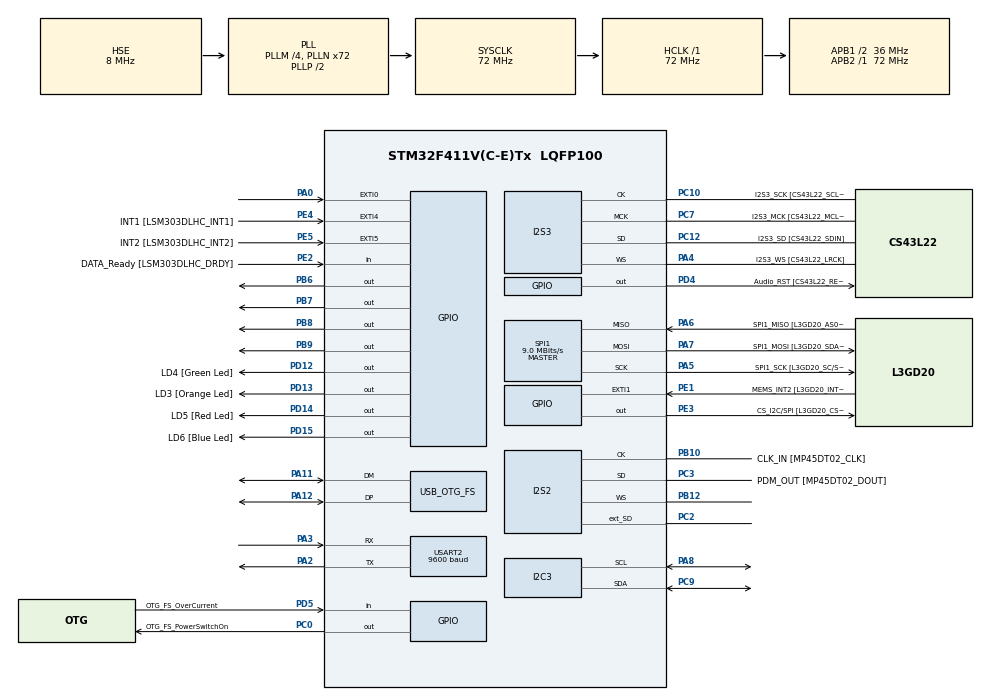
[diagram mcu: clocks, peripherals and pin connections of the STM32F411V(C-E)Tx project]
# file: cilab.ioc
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Dma.Request0=USART2_RX
Dma.Request1=SPI1_TX
Dma.SPI1_TX.1.Direction=DMA_MEMORY_TO_PERIPH
Dma.SPI1_TX.1.FIFOMode=DMA_FIFOMODE_DISABLE
Dma.SPI1_TX.1.Instance=DMA2_Stream2
Dma.SPI1_TX.1.MemDataAlignment=DMA_MDATAALIGN_BYTE
Dma.SPI1_TX.1.MemInc=DMA_MINC_ENABLE
Dma.SPI1_TX.1.Mode=DMA_NORMAL
Dma.SPI1_TX.1.PeriphDataAlignment=DMA_PDATAALIGN_BYTE
Dma.SPI1_TX.1.PeriphInc=DMA_PINC_DISABLE
Dma.SPI1_TX.1.Priority=DMA_PRIORITY_LOW
Dma.USART2_RX.0.Direction=DMA_PERIPH_TO_MEMORY
Dma.USART2_RX.0.FIFOMode=DMA_FIFOMODE_DISABLE
Dma.USART2_RX.0.Instance=DMA1_Stream5
Dma.USART2_RX.0.MemDataAlignment=DMA_MDATAALIGN_BYTE
Dma.USART2_RX.0.MemInc=DMA_MINC_ENABLE
Dma.USART2_RX.0.Mode=DMA_CIRCULAR
Dma.USART2_RX.0.PeriphDataAlignment=DMA_PDATAALIGN_BYTE
Dma.USART2_RX.0.PeriphInc=DMA_PINC_DISABLE
Dma.USART2_RX.0.Priority=DMA_PRIORITY_LOW
I2S2.AudioFreq=I2S_AUDIOFREQ_96K
I2S2.ErrorAudioFreq=0.15 %
I2S2.FullDuplexMode=I2S_FULLDUPLEXMODE_ENABLE
I2S2.Instance=SPI$Index
I2S2.RealAudioFreq=96.153 KHz
I2S2.VirtualMode=I2S_MODE_MASTER
I2S3.AudioFreq=I2S_AUDIOFREQ_96K
I2S3.ErrorAudioFreq=-6.99 %
I2S3.FullDuplexMode=I2S_FULLDUPLEXMODE_DISABLE
I2S3.Instance=SPI$Index
I2S3.RealAudioFreq=89.285 KHz
I2S3.VirtualMode=I2S_MODE_MASTER
Mcu.Family=STM32F4
Mcu.Name=STM32F411V(C-E)Tx
Mcu.Package=LQFP100
NVIC.DMA1_Stream5_IRQn=true\:0\:0\:true\:false\:true\:false\:true\:true
NVIC.DMA2_Stream2_IRQn=true\:0\:0\:false\:false\:true\:false\:true\:true
NVIC.OTG_FS_IRQn=true\:0\:0\:false\:false\:true\:true\:true\:true
NVIC.PriorityGroup=NVIC_PRIORITYGROUP_0
NVIC.USART2_IRQn=true\:0\:0\:false\:false\:true\:true\:true\:true
PA0-WKUP.GPIO_ModeDefaultEXTI=GPIO_MODE_EVT_RISING
PA0-WKUP.Signal=GPXTI0
PA10.GPIO_Label=OTG_FS_ID
PA10.Signal=USB_OTG_FS_ID
PA11.GPIO_Mode=GPIO_MODE_AF_PP
PA11.GPIO_PuPd=GPIO_NOPULL
PA11.GPIO_Speed=GPIO_SPEED_FREQ_VERY_HIGH
PA11.Mode=Device_Only
PA11.Signal=USB_OTG_FS_DM
PA12.GPIO_Mode=GPIO_MODE_AF_PP
PA12.GPIO_PuPd=GPIO_NOPULL
PA12.GPIO_Speed=GPIO_SPEED_FREQ_VERY_HIGH
PA12.Mode=Device_Only
PA12.Signal=USB_OTG_FS_DP
PA13.GPIO_Label=SWDIO
PA13.Mode=Serial_Wire
PA13.Signal=SYS_JTMS-SWDIO
PA14.GPIO_Label=SWCLK
PA14.Mode=Serial_Wire
PA14.Signal=SYS_JTCK-SWCLK
PA2.Mode=Asynchronous
PA2.Signal=USART2_TX
PA3.Mode=Asynchronous
PA3.Signal=USART2_RX
PA4.GPIO_Label=I2S3_WS [CS43L22_LRCK]
PA4.GPIO_Mode=GPIO_MODE_AF_PP
PA4.GPIO_PuPd=GPIO_NOPULL
PA4.GPIO_Speed=GPIO_SPEED_FREQ_LOW
PA4.Mode=Half_Duplex_Master
PA4.Signal=I2S3_WS
PA5.GPIO_Label=SPI1_SCK [L3GD20_SC/SPC]
PA5.Mode=Full_Duplex_Master
PA5.Signal=SPI1_SCK
PA6.GPIO_Label=SPI1_MISO [L3GD20_AS0/SDO]
PA6.Mode=Full_Duplex_Master
PA6.Signal=SPI1_MISO
PA7.GPIO_Label=SPI1_MOSI [L3GD20_SDA/SDI/SDO]
PA7.Mode=Full_Duplex_Master
PA7.Signal=SPI1_MOSI
PA8.Mode=I2C
PA8.Signal=I2C3_SCL
PA9.GPIO_Label=VBUS_FS
PA9.Signal=USB_OTG_FS_VBUS
PB10.GPIO_Label=CLK_IN [MP45DT02_CLK]
PB10.Mode=Full_Duplex_Master
PB10.Signal=I2S2_CK
PB12.Mode=Full_Duplex_Master
PB12.Signal=I2S2_WS
PB3.GPIO_Label=SWO
PB3.Signal=SYS_JTDO-SWO
PB6.Signal=GPIO_Output
PB7.Signal=GPIO_Output
PB8.Signal=GPIO_Output
PB9.Signal=GPIO_Output
PC0.GPIO_Label=OTG_FS_PowerSwitchOn
PC0.PinState=GPIO_PIN_SET
PC0.Signal=GPIO_Output
PC10.GPIO_Label=I2S3_SCK [CS43L22_SCLK]
PC10.GPIO_Mode=GPIO_MODE_AF_PP
PC10.GPIO_PuPd=GPIO_NOPULL
PC10.GPIO_Speed=GPIO_SPEED_FREQ_LOW
PC10.Mode=Half_Duplex_Master
PC10.Signal=I2S3_CK
PC12.GPIO_Label=I2S3_SD [CS43L22_SDIN]
PC12.GPIO_Mode=GPIO_MODE_AF_PP
PC12.GPIO_PuPd=GPIO_NOPULL
PC12.GPIO_Speed=GPIO_SPEED_FREQ_LOW
PC12.Mode=Half_Duplex_Master
PC12.Signal=I2S3_SD
PC14-OSC32_IN.GPIO_Label=PC14-OSC32_IN
PC14-OSC32_IN.Mode=LSE-External-Oscillator
PC14-OSC32_IN.Signal=RCC_OSC32_IN
PC15-OSC32_OUT.GPIO_Label=PC15-OSC32_OUT
PC15-OSC32_OUT.Mode=LSE-External-Oscillator
PC15-OSC32_OUT.Signal=RCC_OSC32_OUT
PC2.Mode=Full_Duplex_Master
PC2.Signal=I2S2_ext_SD
PC3.GPIO_Label=PDM_OUT [MP45DT02_DOUT]
PC3.Mode=Full_Duplex_Master
PC3.Signal=I2S2_SD
PC7.GPIO_Label=I2S3_MCK [CS43L22_MCLK]
PC7.GPIO_Mode=GPIO_MODE_AF_PP
PC7.GPIO_PuPd=GPIO_NOPULL
PC7.GPIO_Speed=GPIO_SPEED_FREQ_LOW
PC7.Mode=Master_Clock_Activated
PC7.Signal=I2S3_MCK
PC9.Mode=I2C
PC9.Signal=I2C3_SDA
PD12.GPIO_Label=LD4 [Green Led]
PD12.GPIO_PuPd=GPIO_NOPULL
PD12.GPIO_Speed=GPIO_SPEED_FREQ_LOW
PD12.Signal=GPIO_Output
PD13.GPIO_Label=LD3 [Orange Led]
PD13.GPIO_PuPd=GPIO_NOPULL
PD13.GPIO_Speed=GPIO_SPEED_FREQ_LOW
PD13.Signal=GPIO_Output
PD14.GPIO_Label=LD5 [Red Led]
PD14.GPIO_PuPd=GPIO_NOPULL
PD14.GPIO_Speed=GPIO_SPEED_FREQ_LOW
PD14.Signal=GPIO_Output
PD15.GPIO_Label=LD6 [Blue Led]
PD15.GPIO_PuPd=GPIO_NOPULL
PD15.GPIO_Speed=GPIO_SPEED_FREQ_LOW
PD15.Signal=GPIO_Output
PD4.GPIO_Label=Audio_RST [CS43L22_RESET]
PD4.Signal=GPIO_Output
PD5.GPIO_Label=OTG_FS_OverCurrent
PD5.Signal=GPIO_Input
PE1.GPIO_Label=MEMS_INT2 [L3GD20_INT2]
PE1.GPIO_ModeDefaultEXTI=GPIO_MODE_EVT_RISING
PE1.Signal=GPXTI1
PE2.GPIO_Label=DATA_Ready [LSM303DLHC_DRDY]
PE2.Signal=GPIO_Input
PE3.GPIO_Label=CS_I2C/SPI [L3GD20_CS_I2C/SPI]
PE3.Signal=GPIO_Output
PE4.GPIO_Label=INT1 [LSM303DLHC_INT1]
PE4.GPIO_ModeDefaultEXTI=GPIO_MODE_EVT_RISING
PE4.Signal=GPXTI4
PE5.GPIO_Label=INT2 [LSM303DLHC_INT2]
PE5.GPIO_ModeDefaultEXTI=GPIO_MODE_EVT_RISING
PE5.Signal=GPXTI5
PH0\ -\ OSC_IN.GPIO_Label=PH0-OSC_IN
PH0\ -\ OSC_IN.Mode=HSE-External-Oscillator
PH0\ -\ OSC_IN.Signal=RCC_OSC_IN
PH1\ -\ OSC_OUT.GPIO_Label=PH1-OSC_OUT
PH1\ -\ OSC_OUT.Mode=HSE-External-Oscillator
PH1\ -\ OSC_OUT.Signal=RCC_OSC_OUT
ProjectManager.HeapSize=0x200
ProjectManager.StackSize=0x400
ProjectManager.TargetToolchain=STM32CubeIDE
RCC.48MHZClocksFreq_Value=48000000
RCC.AHBFreq_Value=72000000
RCC.APB1CLKDivider=RCC_HCLK_DIV2
RCC.APB1Freq_Value=36000000
RCC.APB1TimFreq_Value=72000000
RCC.APB2Freq_Value=72000000
RCC.APB2TimFreq_Value=72000000
RCC.CortexFreq_Value=72000000
RCC.HCLKFreq_Value=72000000
RCC.HSE_VALUE=8000000
RCC.HSI_VALUE=16000000
RCC.PLLI2SM=5
RCC.PLLI2SN=200
RCC.PLLM=4
RCC.PLLN=72
RCC.PLLQ=3
RCC.SYSCLKFreq_VALUE=72000000
RCC.SYSCLKSource=RCC_SYSCLKSOURCE_PLLCLK
RCC.VCOOutputFreq_Value=144000000
SPI1.BaudRatePrescaler=SPI_BAUDRATEPRESCALER_8
SPI1.CalculateBaudRate=9.0 MBits/s
SPI1.Direction=SPI_DIRECTION_2LINES
SPI1.Mode=SPI_MODE_MASTER
SPI1.VirtualType=VM_MASTER
USART2.BaudRate=9600
USART2.VirtualMode=VM_ASYNC
USB_DEVICE.CLASS_NAME_FS=CDC
USB_DEVICE.VirtualMode=Cdc
USB_DEVICE.VirtualModeFS=Cdc_FS
USB_OTG_FS.VirtualMode=Device_Only
VP_USB_DEVICE_VS_USB_DEVICE_CDC_FS.Mode=CDC_FS
board=STM32F411E-DISCO

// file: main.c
/* USER CODE BEGIN Header */
/**
  ******************************************************************************
  * @file           : main.c
  * @brief          : Main program body
  ******************************************************************************
  * @attention
  *
  * Copyright (c) 2025 STMicroelectronics.
  * All rights reserved.
  *
  * This software is licensed under terms that can be found in the LICENSE file
  * in the root directory of this software component.
  * If no LICENSE file comes with this software, it is provided AS-IS.
  *
  ******************************************************************************
  */
/* USER CODE END Header */
#include "main.h"
#include "usb_device.h"

/* USER CODE BEGIN Includes */
#include "gps.h"
#include "nmea.h"
#include "display_ili9341.h"
#include "cli.h"
#include "fonts.h"
#include "bme.h"
#include "string.h"
#include "stdio.h"
#include "stdbool.h"

/* USER CODE END Includes */

/* USER CODE BEGIN PD */
#define GPS_DMA_BUF_SZ 512
uint8_t gps_dma_buf[GPS_DMA_BUF_SZ];
/* USER CODE END PD */

I2C_HandleTypeDef hi2c3;

I2S_HandleTypeDef hi2s2;
I2S_HandleTypeDef hi2s3;

SPI_HandleTypeDef hspi1;
DMA_HandleTypeDef hdma_spi1_tx;

UART_HandleTypeDef huart2;
DMA_HandleTypeDef hdma_usart2_rx;

void SystemClock_Config(void);
void PeriphCommonClock_Config(void);
static void MX_GPIO_Init(void);
static void MX_DMA_Init(void);
static void MX_I2S2_Init(void);
static void MX_I2S3_Init(void);
static void MX_SPI1_Init(void);
static void MX_USART2_UART_Init(void);
static void MX_I2C3_Init(void);

/* USER CODE BEGIN 0 */
//volatile uint32_t msTicks = 0;
//void SysTick_Handler(void) {
//    HAL_IncTick();
//    msTicks++;
//}
////
//uint32_t millis(void) { return msTicks; }

/* USER CODE END 0 */

int main(void)
{

  /* USER CODE BEGIN 1 */
  uint8_t gps_dma_buf[GPS_DMA_BUF_SZ];

  /* USER CODE END 1 */

  /* MCU Configuration--------------------------------------------------------*/

  /* Reset of all peripherals, Initializes the Flash interface and the Systick. */
  HAL_Init();

  /* Configure the system clock */
  SystemClock_Config();

  /* Configure the peripherals common clocks */
  PeriphCommonClock_Config();

  /* Initialize all configured peripherals */
  MX_GPIO_Init();
  MX_DMA_Init();
  MX_I2S2_Init();
  MX_I2S3_Init();
  MX_SPI1_Init();
  MX_USART2_UART_Init();
  MX_USB_DEVICE_Init();
  MX_I2C3_Init();
  /* USER CODE BEGIN 2 */
  if (HAL_UART_Receive_DMA(&huart2, gps_dma_buf, GPS_DMA_BUF_SZ) != HAL_OK) {
          Error_Handler();
      }
      __HAL_UART_ENABLE_IT(&huart2, UART_IT_IDLE);

      nmea_init();
      gps_init();
      cli_init();
      ili9341_init(&hspi1);
      bme280_init(&hi2c3);

      ili9341_fill_screen(BLACK);
      ili9341_draw_text(8, 8, "STM32 GPS NODE", &font6x8, WHITE, BLACK);
      ili9341_draw_text(8, 24, "ID: initializing...", &font6x8, WHITE, BLACK);

      uint32_t id0 = HAL_GetUIDw0();
      uint32_t id1 = HAL_GetUIDw1();
      uint32_t node_id = id0 ^ id1;

      char tmp[64];
      snprintf(tmp, sizeof(tmp), "ID: 0x%04X", (unsigned int)(node_id & 0xFFFF));
      ili9341_draw_text(8, 40, tmp, &font6x8, WHITE, BLACK);

      uint32_t last_display_update = HAL_GetTick();

      static uint32_t last_bme_read = 0;
      bme280_data_t bme;

  /* USER CODE END 2 */

  /* Infinite loop */
  /* USER CODE BEGIN WHILE */
  while (1)
  {
//	  CDC_Transmit_FS("Hello", 6);
	  cli_process();
			  if (HAL_GetTick() - last_bme_read >= 1000) {
					  last_bme_read = HAL_GetTick();
					  bme280_forced_measure();
					  HAL_Delay(50);
					  if (bme280_read(&bme)) {
						  char line[128];
						  snprintf(line, sizeof(line), "T: %.1fC P: %.1fhPa RH: %.1f%%",
								   bme.temperature, bme.pressure, bme.humidity);
						  ili9341_draw_text(8, 144, line, &font6x8, WHITE, BLACK);
					  }
				  }

	          if (HAL_GetTick() - last_display_update >= 1000) {
	              last_display_update = HAL_GetTick();
	              gps_pos_t pos = gps_get_last_position();
	              bool fresh = gps_get_last_age_ms() < 2000 && pos.valid;

	              char latbuf[64], lonbuf[64], timebuf[64];
	              if (pos.valid) {
	                  format_lat_lon(pos.lat_deg, pos.lon_deg, latbuf, sizeof(latbuf), 5);
	                  format_utc_time(pos.year, pos.month, pos.day, pos.hour, pos.min, pos.sec, timebuf, sizeof(timebuf));
	              } else {
	                  strcpy(latbuf, "N/A");
	                  strcpy(lonbuf, "N/A");
	                  strcpy(timebuf, "N/A");
	              }

	              ili9341_fill_rect(8, 80, 304, 160, BLACK); // clear area (partial)
	              ili9341_draw_text(8, 80, tmp, &font6x8, WHITE, BLACK); // ID
	              char line[128];
	              snprintf(line, sizeof(line), "LAT: %s", latbuf);
	              ili9341_draw_text(8, 96, line, &font6x8, WHITE, BLACK);
	              snprintf(line, sizeof(line), "LON: %s", lonbuf);
	              ili9341_draw_text(8, 112, line, &font6x8, WHITE, BLACK);
	              snprintf(line, sizeof(line), "UTC: %s %s", timebuf, fresh?"":"(stale)");
	              ili9341_draw_text(8, 128, line, &font6x8, WHITE, BLACK);
	          }
    /* USER CODE END WHILE */

  }
}

void SystemClock_Config(void)
{
  RCC_OscInitTypeDef RCC_OscInitStruct = {0};
  RCC_ClkInitTypeDef RCC_ClkInitStruct = {0};

  /** Configure the main internal regulator output voltage
  */
  __HAL_RCC_PWR_CLK_ENABLE();
  __HAL_PWR_VOLTAGESCALING_CONFIG(PWR_REGULATOR_VOLTAGE_SCALE1);

  /** Initializes the RCC Oscillators according to the specified parameters
  * in the RCC_OscInitTypeDef structure.
  */
  RCC_OscInitStruct.OscillatorType = RCC_OSCILLATORTYPE_HSE;
  RCC_OscInitStruct.HSEState = RCC_HSE_ON;
  RCC_OscInitStruct.PLL.PLLState = RCC_PLL_ON;
  RCC_OscInitStruct.PLL.PLLSource = RCC_PLLSOURCE_HSE;
  RCC_OscInitStruct.PLL.PLLM = 4;
  RCC_OscInitStruct.PLL.PLLN = 72;
  RCC_OscInitStruct.PLL.PLLP = RCC_PLLP_DIV2;
  RCC_OscInitStruct.PLL.PLLQ = 3;
  if (HAL_RCC_OscConfig(&RCC_OscInitStruct) != HAL_OK)
  {
    Error_Handler();
  }

  /** Initializes the CPU, AHB and APB buses clocks
  */
  RCC_ClkInitStruct.ClockType = RCC_CLOCKTYPE_HCLK|RCC_CLOCKTYPE_SYSCLK
                              |RCC_CLOCKTYPE_PCLK1|RCC_CLOCKTYPE_PCLK2;
  RCC_ClkInitStruct.SYSCLKSource = RCC_SYSCLKSOURCE_PLLCLK;
  RCC_ClkInitStruct.AHBCLKDivider = RCC_SYSCLK_DIV1;
  RCC_ClkInitStruct.APB1CLKDivider = RCC_HCLK_DIV2;
  RCC_ClkInitStruct.APB2CLKDivider = RCC_HCLK_DIV1;

  if (HAL_RCC_ClockConfig(&RCC_ClkInitStruct, FLASH_LATENCY_2) != HAL_OK)
  {
    Error_Handler();
  }
}

void PeriphCommonClock_Config(void)
{
  RCC_PeriphCLKInitTypeDef PeriphClkInitStruct = {0};

  /** Initializes the peripherals clock
  */
  PeriphClkInitStruct.PeriphClockSelection = RCC_PERIPHCLK_I2S;
  PeriphClkInitStruct.PLLI2S.PLLI2SN = 200;
  PeriphClkInitStruct.PLLI2S.PLLI2SM = 5;
  PeriphClkInitStruct.PLLI2S.PLLI2SR = 2;
  if (HAL_RCCEx_PeriphCLKConfig(&PeriphClkInitStruct) != HAL_OK)
  {
    Error_Handler();
  }
}

static void MX_I2C3_Init(void)
{

  hi2c3.Instance = I2C3;
  hi2c3.Init.ClockSpeed = 100000;
  hi2c3.Init.DutyCycle = I2C_DUTYCYCLE_2;
  hi2c3.Init.OwnAddress1 = 0;
  hi2c3.Init.AddressingMode = I2C_ADDRESSINGMODE_7BIT;
  hi2c3.Init.DualAddressMode = I2C_DUALADDRESS_DISABLE;
  hi2c3.Init.OwnAddress2 = 0;
  hi2c3.Init.GeneralCallMode = I2C_GENERALCALL_DISABLE;
  hi2c3.Init.NoStretchMode = I2C_NOSTRETCH_DISABLE;
  if (HAL_I2C_Init(&hi2c3) != HAL_OK)
  {
    Error_Handler();
  }

}

static void MX_I2S2_Init(void)
{

  hi2s2.Instance = SPI2;
  hi2s2.Init.Mode = I2S_MODE_MASTER_TX;
  hi2s2.Init.Standard = I2S_STANDARD_PHILIPS;
  hi2s2.Init.DataFormat = I2S_DATAFORMAT_16B;
  hi2s2.Init.MCLKOutput = I2S_MCLKOUTPUT_DISABLE;
  hi2s2.Init.AudioFreq = I2S_AUDIOFREQ_96K;
  hi2s2.Init.CPOL = I2S_CPOL_LOW;
  hi2s2.Init.ClockSource = I2S_CLOCK_PLL;
  hi2s2.Init.FullDuplexMode = I2S_FULLDUPLEXMODE_ENABLE;
  if (HAL_I2S_Init(&hi2s2) != HAL_OK)
  {
    Error_Handler();
  }

}

static void MX_I2S3_Init(void)
{

  hi2s3.Instance = SPI3;
  hi2s3.Init.Mode = I2S_MODE_MASTER_TX;
  hi2s3.Init.Standard = I2S_STANDARD_PHILIPS;
  hi2s3.Init.DataFormat = I2S_DATAFORMAT_16B;
  hi2s3.Init.MCLKOutput = I2S_MCLKOUTPUT_ENABLE;
  hi2s3.Init.AudioFreq = I2S_AUDIOFREQ_96K;
  hi2s3.Init.CPOL = I2S_CPOL_LOW;
  hi2s3.Init.ClockSource = I2S_CLOCK_PLL;
  hi2s3.Init.FullDuplexMode = I2S_FULLDUPLEXMODE_DISABLE;
  if (HAL_I2S_Init(&hi2s3) != HAL_OK)
  {
    Error_Handler();
  }

}

static void MX_SPI1_Init(void)
{

  /* SPI1 parameter configuration*/
  hspi1.Instance = SPI1;
  hspi1.Init.Mode = SPI_MODE_MASTER;
  hspi1.Init.Direction = SPI_DIRECTION_2LINES;
  hspi1.Init.DataSize = SPI_DATASIZE_8BIT;
  hspi1.Init.CLKPolarity = SPI_POLARITY_LOW;
  hspi1.Init.CLKPhase = SPI_PHASE_1EDGE;
  hspi1.Init.NSS = SPI_NSS_SOFT;
  hspi1.Init.BaudRatePrescaler = SPI_BAUDRATEPRESCALER_8;
  hspi1.Init.FirstBit = SPI_FIRSTBIT_MSB;
  hspi1.Init.TIMode = SPI_TIMODE_DISABLE;
  hspi1.Init.CRCCalculation = SPI_CRCCALCULATION_DISABLE;
  hspi1.Init.CRCPolynomial = 10;
  if (HAL_SPI_Init(&hspi1) != HAL_OK)
  {
    Error_Handler();
  }

}

static void MX_USART2_UART_Init(void)
{

  huart2.Instance = USART2;
  huart2.Init.BaudRate = 9600;
  huart2.Init.WordLength = UART_WORDLENGTH_8B;
  huart2.Init.StopBits = UART_STOPBITS_1;
  huart2.Init.Parity = UART_PARITY_NONE;
  huart2.Init.Mode = UART_MODE_TX_RX;
  huart2.Init.HwFlowCtl = UART_HWCONTROL_NONE;
  huart2.Init.OverSampling = UART_OVERSAMPLING_16;
  if (HAL_UART_Init(&huart2) != HAL_OK)
  {
    Error_Handler();
  }

}

static void MX_DMA_Init(void)
{

  /* DMA controller clock enable */
  __HAL_RCC_DMA1_CLK_ENABLE();
  __HAL_RCC_DMA2_CLK_ENABLE();

  /* DMA interrupt init */
  /* DMA1_Stream5_IRQn interrupt configuration */
  HAL_NVIC_SetPriority(DMA1_Stream5_IRQn, 0, 0);
  HAL_NVIC_EnableIRQ(DMA1_Stream5_IRQn);
  /* DMA2_Stream2_IRQn interrupt configuration */
  HAL_NVIC_SetPriority(DMA2_Stream2_IRQn, 0, 0);
  HAL_NVIC_EnableIRQ(DMA2_Stream2_IRQn);

}

static void MX_GPIO_Init(void)
{
  GPIO_InitTypeDef GPIO_InitStruct = {0};

  /* GPIO Ports Clock Enable */
  __HAL_RCC_GPIOE_CLK_ENABLE();
  __HAL_RCC_GPIOC_CLK_ENABLE();
  __HAL_RCC_GPIOH_CLK_ENABLE();
  __HAL_RCC_GPIOA_CLK_ENABLE();
  __HAL_RCC_GPIOB_CLK_ENABLE();
  __HAL_RCC_GPIOD_CLK_ENABLE();

  /*Configure GPIO pin Output Level */
  HAL_GPIO_WritePin(CS_I2C_SPI_GPIO_Port, CS_I2C_SPI_Pin, GPIO_PIN_RESET);

  /*Configure GPIO pin Output Level */
  HAL_GPIO_WritePin(OTG_FS_PowerSwitchOn_GPIO_Port, OTG_FS_PowerSwitchOn_Pin, GPIO_PIN_SET);

  /*Configure GPIO pin Output Level */
  HAL_GPIO_WritePin(GPIOD, LD4_Pin|LD3_Pin|LD5_Pin|LD6_Pin
                          |Audio_RST_Pin, GPIO_PIN_RESET);

  /*Configure GPIO pin Output Level */
  HAL_GPIO_WritePin(GPIOB, GPIO_PIN_6|GPIO_PIN_7|GPIO_PIN_8|GPIO_PIN_9, GPIO_PIN_RESET);

  /*Configure GPIO pin : DATA_Ready_Pin */
  GPIO_InitStruct.Pin = DATA_Ready_Pin;
  GPIO_InitStruct.Mode = GPIO_MODE_INPUT;
  GPIO_InitStruct.Pull = GPIO_NOPULL;
  HAL_GPIO_Init(DATA_Ready_GPIO_Port, &GPIO_InitStruct);

  /*Configure GPIO pin : CS_I2C_SPI_Pin */
  GPIO_InitStruct.Pin = CS_I2C_SPI_Pin;
  GPIO_InitStruct.Mode = GPIO_MODE_OUTPUT_PP;
  GPIO_InitStruct.Pull = GPIO_NOPULL;
  GPIO_InitStruct.Speed = GPIO_SPEED_FREQ_LOW;
  HAL_GPIO_Init(CS_I2C_SPI_GPIO_Port, &GPIO_InitStruct);

  /*Configure GPIO pins : INT1_Pin INT2_Pin MEMS_INT2_Pin */
  GPIO_InitStruct.Pin = INT1_Pin|INT2_Pin|MEMS_INT2_Pin;
  GPIO_InitStruct.Mode = GPIO_MODE_EVT_RISING;
  GPIO_InitStruct.Pull = GPIO_NOPULL;
  HAL_GPIO_Init(GPIOE, &GPIO_InitStruct);

  /*Configure GPIO pin : OTG_FS_PowerSwitchOn_Pin */
  GPIO_InitStruct.Pin = OTG_FS_PowerSwitchOn_Pin;
  GPIO_InitStruct.Mode = GPIO_MODE_OUTPUT_PP;
  GPIO_InitStruct.Pull = GPIO_NOPULL;
  GPIO_InitStruct.Speed = GPIO_SPEED_FREQ_LOW;
  HAL_GPIO_Init(OTG_FS_PowerSwitchOn_GPIO_Port, &GPIO_InitStruct);

  /*Configure GPIO pin : PA0 */
  GPIO_InitStruct.Pin = GPIO_PIN_0;
  GPIO_InitStruct.Mode = GPIO_MODE_EVT_RISING;
  GPIO_InitStruct.Pull = GPIO_NOPULL;
  HAL_GPIO_Init(GPIOA, &GPIO_InitStruct);

  /*Configure GPIO pins : LD4_Pin LD3_Pin LD5_Pin LD6_Pin
                           Audio_RST_Pin */
  GPIO_InitStruct.Pin = LD4_Pin|LD3_Pin|LD5_Pin|LD6_Pin
                          |Audio_RST_Pin;
  GPIO_InitStruct.Mode = GPIO_MODE_OUTPUT_PP;
  GPIO_InitStruct.Pull = GPIO_NOPULL;
  GPIO_InitStruct.Speed = GPIO_SPEED_FREQ_LOW;
  HAL_GPIO_Init(GPIOD, &GPIO_InitStruct);

  /*Configure GPIO pin : OTG_FS_OverCurrent_Pin */
  GPIO_InitStruct.Pin = OTG_FS_OverCurrent_Pin;
  GPIO_InitStruct.Mode = GPIO_MODE_INPUT;
  GPIO_InitStruct.Pull = GPIO_NOPULL;
  HAL_GPIO_Init(OTG_FS_OverCurrent_GPIO_Port, &GPIO_InitStruct);

  /*Configure GPIO pins : PB6 PB7 PB8 PB9 */
  GPIO_InitStruct.Pin = GPIO_PIN_6|GPIO_PIN_7|GPIO_PIN_8|GPIO_PIN_9;
  GPIO_InitStruct.Mode = GPIO_MODE_OUTPUT_PP;
  GPIO_InitStruct.Pull = GPIO_NOPULL;
  GPIO_InitStruct.Speed = GPIO_SPEED_FREQ_LOW;
  HAL_GPIO_Init(GPIOB, &GPIO_InitStruct);

}

/* USER CODE BEGIN 4 */

void gps_uart_idle_irq_handler(UART_HandleTypeDef *huart) {
    if (__HAL_UART_GET_FLAG(huart, UART_FLAG_IDLE)) {
        __HAL_UART_CLEAR_IDLEFLAG(huart);
        extern uint8_t gps_dma_buf[];
        /* Determine how many bytes received since last read */
        uint16_t pos = GPS_DMA_BUF_SZ - __HAL_DMA_GET_COUNTER(huart->hdmarx);
        /* push bytes to nmea chunk handler */
        nmea_push_chunk(gps_dma_buf, pos);
        /* restart DMA pointer by simply continuing in circular mode (DMA already circular) */
    }
}

/* USER CODE END 4 */

void Error_Handler(void)
{
  __disable_irq();
  while (1)
  {
  }
}
